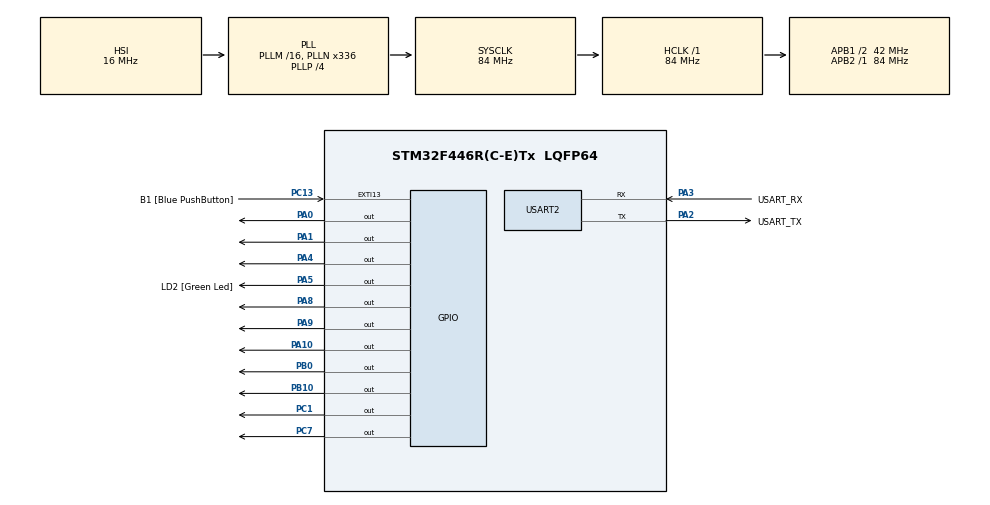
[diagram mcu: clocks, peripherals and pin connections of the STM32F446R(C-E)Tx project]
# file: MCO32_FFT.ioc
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ARM.CMSIS.5.6.0.CMSISJjCORE=true
ARM.CMSIS.5.6.0.CMSISJjDSP=Library
Mcu.Family=STM32F4
Mcu.Name=STM32F446R(C-E)Tx
Mcu.Package=LQFP64
NVIC.PriorityGroup=NVIC_PRIORITYGROUP_0
PA0-WKUP.Signal=GPIO_Output
PA1.Signal=GPIO_Output
PA10.Signal=GPIO_Output
PA13.GPIO_Label=TMS
PA13.Mode=Serial_Wire
PA13.Signal=SYS_JTMS-SWDIO
PA14.GPIO_Label=TCK
PA14.Mode=Serial_Wire
PA14.Signal=SYS_JTCK-SWCLK
PA2.GPIO_Label=USART_TX
PA2.Mode=Asynchronous
PA2.Signal=USART2_TX
PA3.GPIO_Label=USART_RX
PA3.Mode=Asynchronous
PA3.Signal=USART2_RX
PA4.Signal=GPIO_Output
PA5.GPIO_Label=LD2 [Green Led]
PA5.Signal=GPIO_Output
PA8.Signal=GPIO_Output
PA9.Signal=GPIO_Output
PB0.Signal=GPIO_Output
PB10.Signal=GPIO_Output
PB3.GPIO_Label=SWO
PB3.Signal=SYS_JTDO-SWO
PC1.Signal=GPIO_Output
PC13.GPIO_Label=B1 [Blue PushButton]
PC13.GPIO_ModeDefaultEXTI=GPIO_MODE_IT_FALLING
PC13.Signal=GPXTI13
PC14-OSC32_IN.Mode=LSE-External-Oscillator
PC14-OSC32_IN.Signal=RCC_OSC32_IN
PC15-OSC32_OUT.Mode=LSE-External-Oscillator
PC15-OSC32_OUT.Signal=RCC_OSC32_OUT
PC7.Signal=GPIO_Output
PH0-OSC_IN.Mode=HSE-External-Oscillator
PH0-OSC_IN.Signal=RCC_OSC_IN
PH1-OSC_OUT.Mode=HSE-External-Oscillator
PH1-OSC_OUT.Signal=RCC_OSC_OUT
ProjectManager.HeapSize=0x200
ProjectManager.StackSize=0x400
ProjectManager.TargetToolchain=STM32CubeIDE
RCC.48MHZClocksFreq_Value=84000000
RCC.AHBFreq_Value=84000000
RCC.APB1CLKDivider=RCC_HCLK_DIV2
RCC.APB1Freq_Value=42000000
RCC.APB1TimFreq_Value=84000000
RCC.APB2Freq_Value=84000000
RCC.APB2TimFreq_Value=84000000
RCC.CortexFreq_Value=84000000
RCC.FLatency-AdvancedSettings=FLASH_LATENCY_2
RCC.HCLKFreq_Value=84000000
RCC.HSE_VALUE=8000000
RCC.HSI_VALUE=16000000
RCC.PLLN=336
RCC.PLLP=RCC_PLLP_DIV4
RCC.SYSCLKFreq_VALUE=84000000
RCC.SYSCLKSource=RCC_SYSCLKSOURCE_PLLCLK
RCC.USBFreq_Value=168000000
RCC.VCOOutputFreq_Value=336000000
TIM1.AutoReloadPreload=TIM_AUTORELOAD_PRELOAD_ENABLE
TIM1.Period=0xFFFF-1
TIM1.Prescaler=84-1
USART2.VirtualMode=VM_ASYNC
VP_ARM.CMSIS_VS_CMSISJjCORE_5.3.0_5.6.0.Mode=CMSISJjCORE
VP_ARM.CMSIS_VS_CMSISJjDSP_1.7.0_5.6.0.Mode=CMSISJjDSP
VP_TIM1_VS_ClockSourceINT.Mode=Internal
board=NUCLEO-F446RE

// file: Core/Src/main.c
/* USER CODE BEGIN Header */
/**
  ******************************************************************************
  * @file           : main.c
  * @brief          : Main program body
  ******************************************************************************
  * @attention
  *
  * Copyright (c) 2022 STMicroelectronics.
  * All rights reserved.
  *
  * This software is licensed under terms that can be found in the LICENSE file
  * in the root directory of this software component.
  * If no LICENSE file comes with this software, it is provided AS-IS.
  *
  ******************************************************************************
  */
/* USER CODE END Header */
#include "main.h"

/* USER CODE BEGIN Includes */
#include "fonts.h"
#include "tft.h"
#include "user_setting.h"
#include "functions.h"
#include "stdio.h"

#include "arm_math.h"
#include "arm_const_structs.h"
/* USER CODE END Includes */

/* USER CODE BEGIN PD */
#define TEST_LENGTH_SAMPLES 2048
/* USER CODE END PD */

TIM_HandleTypeDef htim1;

UART_HandleTypeDef huart2;

/* USER CODE BEGIN PV */
uint16_t ID = 0;

/* -------------------------------------------------------------------
* External Input and Output buffer Declarations for FFT Bin Example
* ------------------------------------------------------------------- */
extern float32_t testInput_f32_10khz[TEST_LENGTH_SAMPLES];
static float32_t testOutput[TEST_LENGTH_SAMPLES/2];
/* ------------------------------------------------------------------
* Global variables for FFT Bin Example* ------------------------------------------------------------------- */
uint32_t fftSize = 1024;
uint32_t ifftFlag = 0;
uint32_t doBitReverse = 1;
/* Reference index at which max energy of bin ocuurs */
uint32_t refIndex = 213, testIndex = 0;

/* USER CODE END PV */

void SystemClock_Config(void);
static void MX_GPIO_Init(void);
static void MX_USART2_UART_Init(void);
static void MX_TIM1_Init(void);

/* USER CODE BEGIN 0 */
int x = 0;
/* USER CODE END 0 */

int main(void)
{

  /* MCU Configuration--------------------------------------------------------*/

  /* Reset of all peripherals, Initializes the Flash interface and the Systick. */
  HAL_Init();

  /* USER CODE BEGIN Init */
  //tft_gpio_init();
  /* USER CODE END Init */

  /* Configure the system clock */
  SystemClock_Config();

  /* Initialize all configured peripherals */
  MX_GPIO_Init();
  MX_USART2_UART_Init();
  MX_TIM1_Init();
  /* USER CODE BEGIN 2 */
  /* Sequência de inicialização do LCD */
  tft_gpio_init(); //Inicializa os GPIOs do LCD (evita uso do CubeMX)

  HAL_TIM_Base_Start(&htim1); //Inicializa o Timer1 (base de tempo de us do LCD)
  ID = tft_readID(); //Lê o ID do LCD (poderia ser chamada pela inicialização do LCD)
  HAL_Delay(100);
  tft_init(ID); //Inicializa o LCD de acordo com seu ID
  setRotation(1); //Ajusta a orientação da tela
  fillScreen(BLACK); //Preenche a tela em uma só cor

  /* ----------------------------------------------------------------------
   * Max magnitude FFT Bin test
   * ------------------------------------------------------------------- */
  arm_status status;
  float32_t maxValue;
  status = ARM_MATH_SUCCESS;//------------Teste LCD--------------
  float32_t espelho_pre_processamento[320];
  for(int i=0; i<320; i++)
	  espelho_pre_processamento[i] = testInput_f32_10khz[i*2]; //Pula os zeros da parte imaginária
  /* Process the data through the CFFT/CIFFT module */
  arm_cfft_f32(&arm_cfft_sR_f32_len1024, testInput_f32_10khz, ifftFlag, doBitReverse);
  /* Process the data through the Complex Magnitude Module for
  calculating the magnitude at each bin */
  arm_cmplx_mag_f32(testInput_f32_10khz, testOutput, fftSize);
  /* Calculates maxValue and returns corresponding BIN value */
  arm_max_f32(testOutput, fftSize, &maxValue, &testIndex);
  // if (testIndex != refIndex)
  // {
  // status = ARM_MATH_TEST_FAILURE;
  // }
  /* ----------------------------------------------------------------------
   ** Loop here if the signals fail the PASS check.
   ** This denotes a test failure
   ** ------------------------------------------------------------------- */
  if ( status != ARM_MATH_SUCCESS)
  {
	  while (1);
  }
  //---------------Agora vai para o LCD----------------
  int32_t i, amp, escala, yini, yfinal, ycentro;
  char num[30];
  int32_t size;

  /* USER CODE END 2 */

  /* Infinite loop */
  /* USER CODE BEGIN WHILE */
  while (1)
  {
	  fillScreen(BLACK);
	  printnewtstr (15, WHITE, &mono12x7bold, 1, (uint8_t *)"FT-Dominio do Tempo");
	  escala = 100; //Empírico (visa ocupar a tela na vertical)
	  ycentro = 120;
	  for(i=0; i<320; i++)
	  {
		  amp = (int32_t)(espelho_pre_processamento[i]*escala);
		  size = sprintf(num,"%d\r\n",amp);
		  HAL_UART_Transmit(&huart2, num, size, 10);
		  if(amp>0) { yini = ycentro-amp; yfinal = ycentro; }
		  else { yini = ycentro; yfinal = ycentro-amp; }
		  fillRect(i, yini, 1, yfinal-yini+1, YELLOW);
		  //drawPixel(i, ycentro-amp, YELLOW);
	  }
	  HAL_Delay(3000);
	  fillScreen(BLACK);
	  printnewtstr (15, WHITE, &mono12x7bold, 1, (uint8_t *)"FT-Dominio da Freq.");
	  escala = 200;
	  ycentro = 230;
	  for(i=0; i<320; i++)
	  {
		  amp = (int32_t)(testOutput[i]*escala/maxValue);
		  size = sprintf(num,"%d\r\n",amp);
		  HAL_UART_Transmit(&huart2, num, size, 10);
		  if(amp>0) { yini = ycentro-amp; yfinal = ycentro; }else { yini = ycentro; yfinal = ycentro-amp; }
		  fillRect(i, yini, 1, yfinal-yini+1, YELLOW);
	  }
	  HAL_Delay(3000);

    /* USER CODE END WHILE */

  }
}

void SystemClock_Config(void)
{
  RCC_OscInitTypeDef RCC_OscInitStruct = {0};
  RCC_ClkInitTypeDef RCC_ClkInitStruct = {0};

  /** Configure the main internal regulator output voltage
  */
  __HAL_RCC_PWR_CLK_ENABLE();
  __HAL_PWR_VOLTAGESCALING_CONFIG(PWR_REGULATOR_VOLTAGE_SCALE3);

  /** Initializes the RCC Oscillators according to the specified parameters
  * in the RCC_OscInitTypeDef structure.
  */
  RCC_OscInitStruct.OscillatorType = RCC_OSCILLATORTYPE_HSI;
  RCC_OscInitStruct.HSIState = RCC_HSI_ON;
  RCC_OscInitStruct.HSICalibrationValue = RCC_HSICALIBRATION_DEFAULT;
  RCC_OscInitStruct.PLL.PLLState = RCC_PLL_ON;
  RCC_OscInitStruct.PLL.PLLSource = RCC_PLLSOURCE_HSI;
  RCC_OscInitStruct.PLL.PLLM = 16;
  RCC_OscInitStruct.PLL.PLLN = 336;
  RCC_OscInitStruct.PLL.PLLP = RCC_PLLP_DIV4;
  RCC_OscInitStruct.PLL.PLLQ = 2;
  RCC_OscInitStruct.PLL.PLLR = 2;
  if (HAL_RCC_OscConfig(&RCC_OscInitStruct) != HAL_OK)
  {
    Error_Handler();
  }

  /** Initializes the CPU, AHB and APB buses clocks
  */
  RCC_ClkInitStruct.ClockType = RCC_CLOCKTYPE_HCLK|RCC_CLOCKTYPE_SYSCLK
                              |RCC_CLOCKTYPE_PCLK1|RCC_CLOCKTYPE_PCLK2;
  RCC_ClkInitStruct.SYSCLKSource = RCC_SYSCLKSOURCE_PLLCLK;
  RCC_ClkInitStruct.AHBCLKDivider = RCC_SYSCLK_DIV1;
  RCC_ClkInitStruct.APB1CLKDivider = RCC_HCLK_DIV2;
  RCC_ClkInitStruct.APB2CLKDivider = RCC_HCLK_DIV1;

  if (HAL_RCC_ClockConfig(&RCC_ClkInitStruct, FLASH_LATENCY_2) != HAL_OK)
  {
    Error_Handler();
  }
}

static void MX_TIM1_Init(void)
{

  TIM_ClockConfigTypeDef sClockSourceConfig = {0};
  TIM_MasterConfigTypeDef sMasterConfig = {0};

  htim1.Instance = TIM1;
  htim1.Init.Prescaler = 84-1;
  htim1.Init.CounterMode = TIM_COUNTERMODE_UP;
  htim1.Init.Period = 0xFFFF-1;
  htim1.Init.ClockDivision = TIM_CLOCKDIVISION_DIV1;
  htim1.Init.RepetitionCounter = 0;
  htim1.Init.AutoReloadPreload = TIM_AUTORELOAD_PRELOAD_ENABLE;
  if (HAL_TIM_Base_Init(&htim1) != HAL_OK)
  {
    Error_Handler();
  }
  sClockSourceConfig.ClockSource = TIM_CLOCKSOURCE_INTERNAL;
  if (HAL_TIM_ConfigClockSource(&htim1, &sClockSourceConfig) != HAL_OK)
  {
    Error_Handler();
  }
  sMasterConfig.MasterOutputTrigger = TIM_TRGO_RESET;
  sMasterConfig.MasterSlaveMode = TIM_MASTERSLAVEMODE_DISABLE;
  if (HAL_TIMEx_MasterConfigSynchronization(&htim1, &sMasterConfig) != HAL_OK)
  {
    Error_Handler();
  }

}

static void MX_USART2_UART_Init(void)
{

  huart2.Instance = USART2;
  huart2.Init.BaudRate = 115200;
  huart2.Init.WordLength = UART_WORDLENGTH_8B;
  huart2.Init.StopBits = UART_STOPBITS_1;
  huart2.Init.Parity = UART_PARITY_NONE;
  huart2.Init.Mode = UART_MODE_TX_RX;
  huart2.Init.HwFlowCtl = UART_HWCONTROL_NONE;
  huart2.Init.OverSampling = UART_OVERSAMPLING_16;
  if (HAL_UART_Init(&huart2) != HAL_OK)
  {
    Error_Handler();
  }

}

static void MX_GPIO_Init(void)
{
  GPIO_InitTypeDef GPIO_InitStruct = {0};

  /* GPIO Ports Clock Enable */
  __HAL_RCC_GPIOC_CLK_ENABLE();
  __HAL_RCC_GPIOH_CLK_ENABLE();
  __HAL_RCC_GPIOA_CLK_ENABLE();
  __HAL_RCC_GPIOB_CLK_ENABLE();

  /*Configure GPIO pin Output Level */
  HAL_GPIO_WritePin(GPIOC, GPIO_PIN_1|GPIO_PIN_7, GPIO_PIN_RESET);

  /*Configure GPIO pin Output Level */
  HAL_GPIO_WritePin(GPIOA, GPIO_PIN_0|GPIO_PIN_1|GPIO_PIN_4|LD2_Pin
                          |GPIO_PIN_8|GPIO_PIN_9|GPIO_PIN_10, GPIO_PIN_RESET);

  /*Configure GPIO pin Output Level */
  HAL_GPIO_WritePin(GPIOB, GPIO_PIN_0|GPIO_PIN_10, GPIO_PIN_RESET);

  /*Configure GPIO pin : B1_Pin */
  GPIO_InitStruct.Pin = B1_Pin;
  GPIO_InitStruct.Mode = GPIO_MODE_IT_FALLING;
  GPIO_InitStruct.Pull = GPIO_NOPULL;
  HAL_GPIO_Init(B1_GPIO_Port, &GPIO_InitStruct);

  /*Configure GPIO pins : PC1 PC7 */
  GPIO_InitStruct.Pin = GPIO_PIN_1|GPIO_PIN_7;
  GPIO_InitStruct.Mode = GPIO_MODE_OUTPUT_PP;
  GPIO_InitStruct.Pull = GPIO_NOPULL;
  GPIO_InitStruct.Speed = GPIO_SPEED_FREQ_LOW;
  HAL_GPIO_Init(GPIOC, &GPIO_InitStruct);

  /*Configure GPIO pins : PA0 PA1 PA4 LD2_Pin
                           PA8 PA9 PA10 */
  GPIO_InitStruct.Pin = GPIO_PIN_0|GPIO_PIN_1|GPIO_PIN_4|LD2_Pin
                          |GPIO_PIN_8|GPIO_PIN_9|GPIO_PIN_10;
  GPIO_InitStruct.Mode = GPIO_MODE_OUTPUT_PP;
  GPIO_InitStruct.Pull = GPIO_NOPULL;
  GPIO_InitStruct.Speed = GPIO_SPEED_FREQ_LOW;
  HAL_GPIO_Init(GPIOA, &GPIO_InitStruct);

  /*Configure GPIO pins : PB0 PB10 */
  GPIO_InitStruct.Pin = GPIO_PIN_0|GPIO_PIN_10;
  GPIO_InitStruct.Mode = GPIO_MODE_OUTPUT_PP;
  GPIO_InitStruct.Pull = GPIO_NOPULL;
  GPIO_InitStruct.Speed = GPIO_SPEED_FREQ_LOW;
  HAL_GPIO_Init(GPIOB, &GPIO_InitStruct);

}

void Error_Handler(void)
{
  __disable_irq();
  while (1)
  {
  }
}
